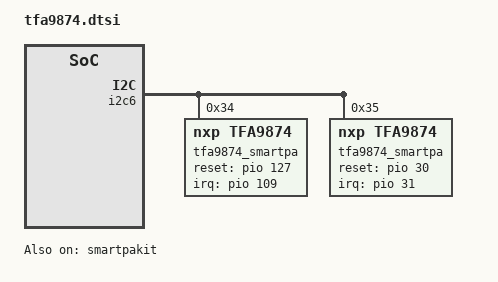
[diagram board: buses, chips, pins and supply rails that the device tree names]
/* tfa9874 Smart PA */
&smartpakit {
    chip_vendor = <1>;
    chip_model = "tfa9874";
    misc_rw_permission_enable;
    status = "okay";
};

&i2c6 {
    tfa9874_smartpa@34 {
        compatible = "nxp,tfa9874";
        reg = <0x34>;
        reset-gpio = <&pio 127 0>;
        irq-gpio = <&pio 109 0>;
        status = "okay";
    };

    tfa9874_smartpa@35 {
        compatible = "nxp,tfa9874";
        reg = <0x35>;
        reset-gpio = <&pio 30 0>;
        irq-gpio = <&pio 31 0>;
        status = "okay";
    };
};
/* tfa9874 Smart PA End */
